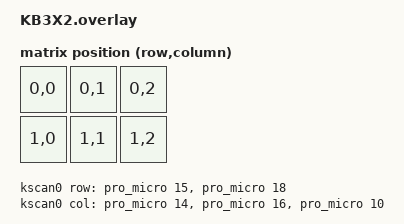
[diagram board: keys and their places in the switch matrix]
#include <dt-bindings/zmk/matrix_transform.h>
#include <physical_layouts.dtsi>


 / {
    chosen {
        zmk,kscan = &kscan0;
        zmk,physical-layout = &physical_layout0;
    };

    kscan0: kscan {
        compatible = "zmk,kscan-gpio-matrix";
        diode-direction = "col2row";   // 1 = COL2ROW, 0 = ROW2COL

        row-gpios = <&pro_micro 15 (GPIO_ACTIVE_HIGH | GPIO_PULL_DOWN)>,
                    <&pro_micro 18 (GPIO_ACTIVE_HIGH | GPIO_PULL_DOWN)>;

        col-gpios = <&pro_micro 14 GPIO_ACTIVE_HIGH>,
                    <&pro_micro 16 GPIO_ACTIVE_HIGH>,
                    <&pro_micro 10 GPIO_ACTIVE_HIGH>;
    };

    transform0: matrix_transform {
        compatible = "zmk,matrix-transform";
        rows = <2>;
        columns = <3>;

        map = <
            RC(0,0)  RC(0,1)  RC(0,2)
            RC(1,0)  RC(1,1)  RC(1,2)
        >;
    };

    physical_layout0: physical_layout_0 {
        compatible = "zmk,physical-layout";
        display-name = "KB3X2";

        transform = <&transform0>;

        keys = <
            &key_physical_attrs 100 100   0   0 0 0 0
            &key_physical_attrs 100 100 100   0 0 0 0
            &key_physical_attrs 100 100 200   0 0 0 0

            &key_physical_attrs 100 100   0 100 0 0 0
            &key_physical_attrs 100 100 100 100 0 0 0
            &key_physical_attrs 100 100 200 100 0 0 0
        >;
    };
};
